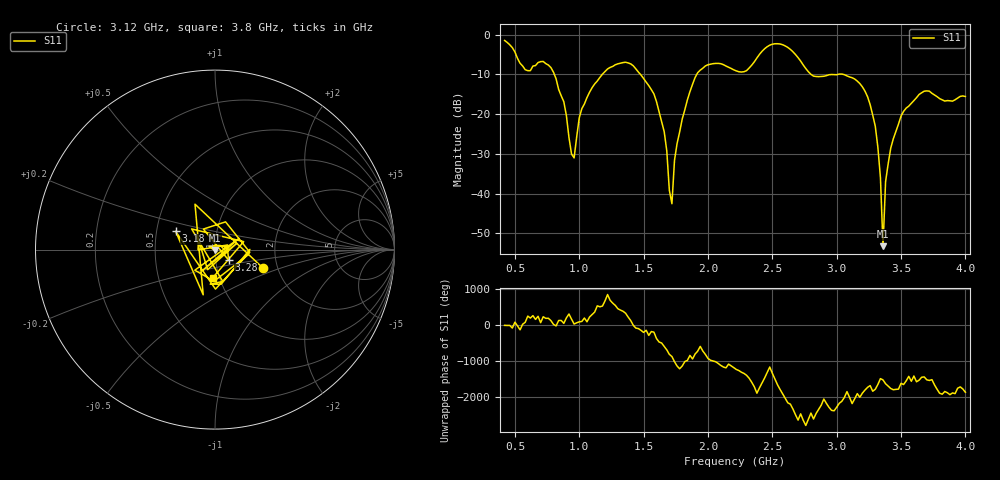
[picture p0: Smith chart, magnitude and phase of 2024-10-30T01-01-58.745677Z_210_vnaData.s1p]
!Created with skrf (http://scikit-rf.org).
# Hz S RI R 50.0
!freq ReS11 ImS11
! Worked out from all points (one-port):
!   180 points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, 420 MHz to 4 GHz, reference 50 ohm
!   lowest |S11| = -53.2 dB at 3.36 GHz (marker M1), VSWR 1.00, Z = 50 - j0.217 ohm
!   |S11| at or under -10 dB: 806.3 MHz to 1.179 GHz (372.5 MHz wide, 37.5 % of centre); 1.475 GHz to 1.913 GHz (437.9 MHz wide, 25.8 % of centre); 3.05 GHz to end of sweep (the widest 3 of 4)
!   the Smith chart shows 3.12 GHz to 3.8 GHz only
!   S11 on the Smith chart (normalised r, x): 3.12 GHz: 1.68, -0.38; 3.18 GHz: 0.63, +0.14; 3.28 GHz: 1.16, -0.14; 3.8 GHz: 0.93, -0.30
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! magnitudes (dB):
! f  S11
! 420 MHz  -1.5
! 580 MHz  -8.8
! 780 MHz  -8.3
! 880 MHz  -16.9
! 960 MHz  -31.0
! 1 GHz  -20.9
! 1.08 GHz  -14.5
! 1.32 GHz  -7.2
! 1.58 GHz  -14.9
! 1.66 GHz  -24.4
! 1.72 GHz  -42.6
! 1.74 GHz  -31.6
! 1.78 GHz  -24.5
! 1.92 GHz  -9.6
! 2.22 GHz  -9.1
! 2.5 GHz  -2.4
! 2.66 GHz  -4.3
! 2.82 GHz  -10.4
! 3.12 GHz  -10.8
! 3.18 GHz  -12.3
! 3.28 GHz  -20.3
! 3.34 GHz  -36.0
! 3.36 GHz  -53.2
! 3.38 GHz  -37.0
! 3.42 GHz  -28.6
! 3.56 GHz  -18.0
! 3.8 GHz  -16.1
! 4 GHz  -15.6
